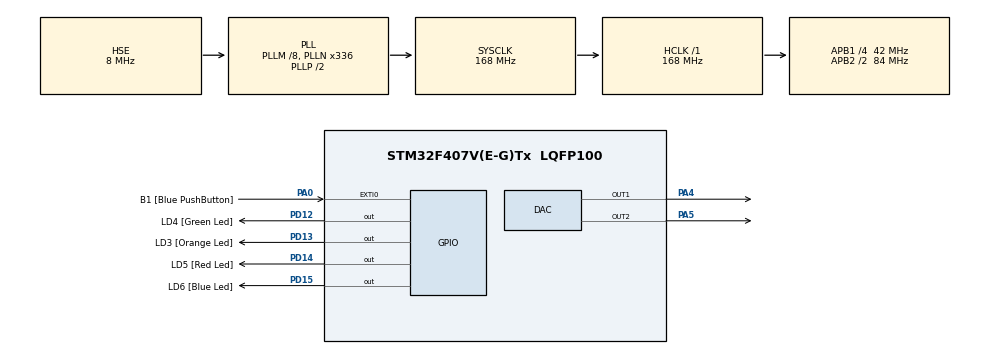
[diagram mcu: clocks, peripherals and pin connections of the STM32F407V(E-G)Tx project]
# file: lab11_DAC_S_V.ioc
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Mcu.Family=STM32F4
RCC.PLLSourceVirtual=RCC_PLLSOURCE_HSE
PC15-OSC32_OUT.Mode=LSE-External-Oscillator
SH.COMP_DAC1_group.0=DAC_OUT1,DAC_OUT1
PD12.GPIO_Label=LD4 [Green Led]
PH0-OSC_IN.Signal=RCC_OSC_IN
RCC.CortexFreq_Value=168000000
PD12.GPIO_Speed=GPIO_SPEED_FREQ_LOW
PD15.GPIO_Label=LD6 [Blue Led]
PD15.GPIO_Speed=GPIO_SPEED_FREQ_LOW
PA14.GPIO_Label=SWCLK
RCC.APB1CLKDivider=RCC_HCLK_DIV4
PC14-OSC32_IN.Signal=RCC_OSC32_IN
PC15-OSC32_OUT.GPIO_Label=PC15-OSC32_OUT
PA0-WKUP.GPIO_ModeDefaultEXTI=GPIO_MODE_EVT_RISING
RCC.SYSCLKSource=RCC_SYSCLKSOURCE_PLLCLK
ProjectManager.StackSize=0x400
PA0-WKUP.GPIO_Label=B1 [Blue PushButton]
PA0-WKUP.Signal=GPXTI0
SH.COMP_DAC2_group.0=DAC_OUT2,DAC_OUT2
PD13.Signal=GPIO_Output
PA13.Signal=SYS_JTMS-SWDIO
PD14.GPIO_Speed=GPIO_SPEED_FREQ_LOW
ProjectManager.TargetToolchain=STM32CubeIDE
RCC.HCLKFreq_Value=168000000
RCC.APB2TimFreq_Value=168000000
PC15-OSC32_OUT.Signal=RCC_OSC32_OUT
RCC.AHBFreq_Value=168000000
PH0-OSC_IN.Mode=HSE-External-Oscillator
PH0-OSC_IN.GPIO_Label=PH0-OSC_IN
PA5.Signal=COMP_DAC2_group
RCC.HSE_VALUE=8000000
board=STM32F407G-DISC1
PD13.GPIO_Speed=GPIO_SPEED_FREQ_LOW
RCC.VCOOutputFreq_Value=336000000
RCC.APB2Freq_Value=84000000
PC14-OSC32_IN.Mode=LSE-External-Oscillator
PA14.Mode=Serial_Wire
PH1-OSC_OUT.Signal=RCC_OSC_OUT
PD13.GPIO_PuPd=GPIO_NOPULL
PD14.GPIO_PuPd=GPIO_NOPULL
PD14.GPIO_Label=LD5 [Red Led]
PH1-OSC_OUT.GPIO_Label=PH1-OSC_OUT
PA13.Mode=Serial_Wire
Mcu.Name=STM32F407V(E-G)Tx
PA13.GPIO_Label=SWDIO
PD14.Signal=GPIO_Output
PH1-OSC_OUT.Mode=HSE-External-Oscillator
RCC.48MHZClocksFreq_Value=48000000
PA4.Signal=COMP_DAC1_group
RCC.SYSCLKFreq_VALUE=168000000
PD13.GPIO_Label=LD3 [Orange Led]
Mcu.Package=LQFP100
PD12.Signal=GPIO_Output
PD15.GPIO_PuPd=GPIO_NOPULL
PA14.Signal=SYS_JTCK-SWCLK
ProjectManager.HeapSize=0x200
RCC.HSI_VALUE=16000000
RCC.PLLQ=7
NVIC.PriorityGroup=NVIC_PRIORITYGROUP_0
RCC.APB2CLKDivider=RCC_HCLK_DIV2
RCC.PLLM=8
RCC.PLLN=336
RCC.APB1TimFreq_Value=84000000
PA0-WKUP.GPIO_PuPd=GPIO_NOPULL
PC14-OSC32_IN.GPIO_Label=PC14-OSC32_IN
RCC.APB1Freq_Value=42000000
PD15.Signal=GPIO_Output
PD12.GPIO_PuPd=GPIO_NOPULL

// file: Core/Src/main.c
/* USER CODE BEGIN Header */
/**
  ******************************************************************************
  * @file           : main.c
  * @brief          : Main program body
  ******************************************************************************
  * @attention
  *
  * <h2><center>&copy; Copyright (c) 2021 STMicroelectronics.
  * All rights reserved.</center></h2>
  *
  * This software component is licensed by ST under BSD 3-Clause license,
  * the "License"; You may not use this file except in compliance with the
  * License. You may obtain a copy of the License at:
  *                        opensource.org/licenses/BSD-3-Clause
  *
  ******************************************************************************
  */
/* USER CODE END Header */
#include "main.h"

DAC_HandleTypeDef hdac;

void SystemClock_Config(void);
static void MX_GPIO_Init(void);
static void MX_DAC_Init(void);

int main(void)
{

  /* MCU Configuration--------------------------------------------------------*/

  /* Reset of all peripherals, Initializes the Flash interface and the Systick. */
  HAL_Init();

  /* Configure the system clock */
  SystemClock_Config();

  /* Initialize all configured peripherals */
  MX_GPIO_Init();
  MX_DAC_Init();
  /* USER CODE BEGIN 2 */
  _Bool rising_signal = 1;
  uint32_t dac_value = 0;
  HAL_DAC_Start(&hdac,DAC_CHANNEL_1);
  HAL_DAC_SetValue(&hdac, DAC_CHANNEL_1, DAC_ALIGN_12B_R, 4095);
  HAL_Delay(100);
  HAL_DAC_SetValue(&hdac, DAC_CHANNEL_1, DAC_ALIGN_12B_R, 0);
  HAL_Delay(100);

//  while(1);
  /* USER CODE END 2 */

  /* Infinite loop */
  /* USER CODE BEGIN WHILE */
  while (1)
  {
	if(rising_signal) {
		if (dac_value < 4095)
			dac_value++;
		else
			rising_signal = 0;
	}
	else{
		if (dac_value > 1200)
			dac_value--;
		else
			rising_signal = 1;
	}
	HAL_DAC_SetValue(&hdac, DAC_CHANNEL_1, DAC_ALIGN_12B_R, dac_value);
	HAL_Delay(1);

    /* USER CODE END WHILE */

  }
}

void SystemClock_Config(void)
{
  RCC_OscInitTypeDef RCC_OscInitStruct = {0};
  RCC_ClkInitTypeDef RCC_ClkInitStruct = {0};

  /** Configure the main internal regulator output voltage
  */
  __HAL_RCC_PWR_CLK_ENABLE();
  __HAL_PWR_VOLTAGESCALING_CONFIG(PWR_REGULATOR_VOLTAGE_SCALE1);
  /** Initializes the RCC Oscillators according to the specified parameters
  * in the RCC_OscInitTypeDef structure.
  */
  RCC_OscInitStruct.OscillatorType = RCC_OSCILLATORTYPE_HSE;
  RCC_OscInitStruct.HSEState = RCC_HSE_ON;
  RCC_OscInitStruct.PLL.PLLState = RCC_PLL_ON;
  RCC_OscInitStruct.PLL.PLLSource = RCC_PLLSOURCE_HSE;
  RCC_OscInitStruct.PLL.PLLM = 8;
  RCC_OscInitStruct.PLL.PLLN = 336;
  RCC_OscInitStruct.PLL.PLLP = RCC_PLLP_DIV2;
  RCC_OscInitStruct.PLL.PLLQ = 7;
  if (HAL_RCC_OscConfig(&RCC_OscInitStruct) != HAL_OK)
  {
    Error_Handler();
  }
  /** Initializes the CPU, AHB and APB buses clocks
  */
  RCC_ClkInitStruct.ClockType = RCC_CLOCKTYPE_HCLK|RCC_CLOCKTYPE_SYSCLK
                              |RCC_CLOCKTYPE_PCLK1|RCC_CLOCKTYPE_PCLK2;
  RCC_ClkInitStruct.SYSCLKSource = RCC_SYSCLKSOURCE_PLLCLK;
  RCC_ClkInitStruct.AHBCLKDivider = RCC_SYSCLK_DIV1;
  RCC_ClkInitStruct.APB1CLKDivider = RCC_HCLK_DIV4;
  RCC_ClkInitStruct.APB2CLKDivider = RCC_HCLK_DIV2;

  if (HAL_RCC_ClockConfig(&RCC_ClkInitStruct, FLASH_LATENCY_5) != HAL_OK)
  {
    Error_Handler();
  }
}

static void MX_DAC_Init(void)
{

  DAC_ChannelConfTypeDef sConfig = {0};

  /** DAC Initialization
  */
  hdac.Instance = DAC;
  if (HAL_DAC_Init(&hdac) != HAL_OK)
  {
    Error_Handler();
  }
  /** DAC channel OUT1 config
  */
  sConfig.DAC_Trigger = DAC_TRIGGER_NONE;
  sConfig.DAC_OutputBuffer = DAC_OUTPUTBUFFER_ENABLE;
  if (HAL_DAC_ConfigChannel(&hdac, &sConfig, DAC_CHANNEL_1) != HAL_OK)
  {
    Error_Handler();
  }
  /** DAC channel OUT2 config
  */
  if (HAL_DAC_ConfigChannel(&hdac, &sConfig, DAC_CHANNEL_2) != HAL_OK)
  {
    Error_Handler();
  }

}

static void MX_GPIO_Init(void)
{
  GPIO_InitTypeDef GPIO_InitStruct = {0};

  /* GPIO Ports Clock Enable */
  __HAL_RCC_GPIOC_CLK_ENABLE();
  __HAL_RCC_GPIOH_CLK_ENABLE();
  __HAL_RCC_GPIOA_CLK_ENABLE();
  __HAL_RCC_GPIOD_CLK_ENABLE();

  /*Configure GPIO pin Output Level */
  HAL_GPIO_WritePin(GPIOD, LD4_Pin|LD3_Pin|LD5_Pin|LD6_Pin, GPIO_PIN_RESET);

  /*Configure GPIO pin : B1_Pin */
  GPIO_InitStruct.Pin = B1_Pin;
  GPIO_InitStruct.Mode = GPIO_MODE_EVT_RISING;
  GPIO_InitStruct.Pull = GPIO_NOPULL;
  HAL_GPIO_Init(B1_GPIO_Port, &GPIO_InitStruct);

  /*Configure GPIO pins : LD4_Pin LD3_Pin LD5_Pin LD6_Pin */
  GPIO_InitStruct.Pin = LD4_Pin|LD3_Pin|LD5_Pin|LD6_Pin;
  GPIO_InitStruct.Mode = GPIO_MODE_OUTPUT_PP;
  GPIO_InitStruct.Pull = GPIO_NOPULL;
  GPIO_InitStruct.Speed = GPIO_SPEED_FREQ_LOW;
  HAL_GPIO_Init(GPIOD, &GPIO_InitStruct);

}

void Error_Handler(void)
{
  __disable_irq();
  while (1)
  {
  }
}

/************************ (C) COPYRIGHT STMicroelectronics *****END OF FILE****/
